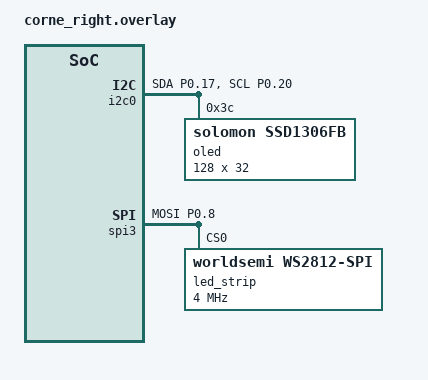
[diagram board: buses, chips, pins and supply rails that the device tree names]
/*
 * corne_right.overlay — right half only
 *
 * Contains both OLED and RGB LED config.
 * NOTE: ZMK does not load a shared corne.overlay from the config dir —
 * only shield-named overlays are picked up, so everything lives here.
 *
 * OLED:  SSD1306 128x32 via I2C  — SDA=P0.17, SCL=P0.20
 * LEDs:  6x WS2812B (underglow) + 21x SK6812MINI-E (per-key) via SPI — MOSI=P0.08
 */

#include <dt-bindings/led/led.h>

&pinctrl {
    /* ── I2C for OLED ── */
    i2c0_default: i2c0_default {
        group1 {
            psels = <NRF_PSEL(TWIM_SDA, 0, 17)>,
                    <NRF_PSEL(TWIM_SCL, 0, 20)>;
        };
    };
    i2c0_sleep: i2c0_sleep {
        group1 {
            psels = <NRF_PSEL(TWIM_SDA, 0, 17)>,
                    <NRF_PSEL(TWIM_SCL, 0, 20)>;
            low-power-enable;
        };
    };

    /* ── SPI for LED strip ── */
    spi3_default: spi3_default {
        group1 {
            psels = <NRF_PSEL(SPIM_MOSI, 0, 8)>;
        };
    };
    spi3_sleep: spi3_sleep {
        group1 {
            psels = <NRF_PSEL(SPIM_MOSI, 0, 8)>;
            low-power-enable;
        };
    };
};

/* ── OLED (SSD1306 128x32 via I2C) ───────────────────────────*/
&i2c0 {
    status = "okay";
    pinctrl-0 = <&i2c0_default>;
    pinctrl-1 = <&i2c0_sleep>;
    pinctrl-names = "default", "sleep";

    oled: ssd1306@3c {
        compatible = "solomon,ssd1306fb";
        reg = <0x3c>;
        width = <128>;
        height = <32>;
        segment-offset = <0>;
        page-offset = <0>;
        display-offset = <0>;
        multiplex-ratio = <31>;
        segment-remap;
        com-invdir;
        com-sequential;
        inversion-on;
        prechargep = <0x22>;
    };
};

/* ── RGB LED Strip ────────────────────────────────────────────*/
&spi3 {
    compatible = "nordic,nrf-spim";
    status = "okay";
    pinctrl-0 = <&spi3_default>;
    pinctrl-1 = <&spi3_sleep>;
    pinctrl-names = "default", "sleep";

    led_strip: ws2812@0 {
        compatible = "worldsemi,ws2812-spi";
        reg = <0>;
        spi-max-frequency = <4000000>;

        chain-length = <27>; /* 6 underglow + 21 per-key */

        spi-one-frame = <0x70>;
        spi-zero-frame = <0x40>;

        color-mapping = <LED_COLOR_ID_GREEN
                         LED_COLOR_ID_RED
                         LED_COLOR_ID_BLUE>;
    };
};

/* ── Chosen peripherals ───────────────────────────────────────*/
/ {
    chosen {
        zmk,underglow = &led_strip;
        zephyr,display = &oled;
    };
};
